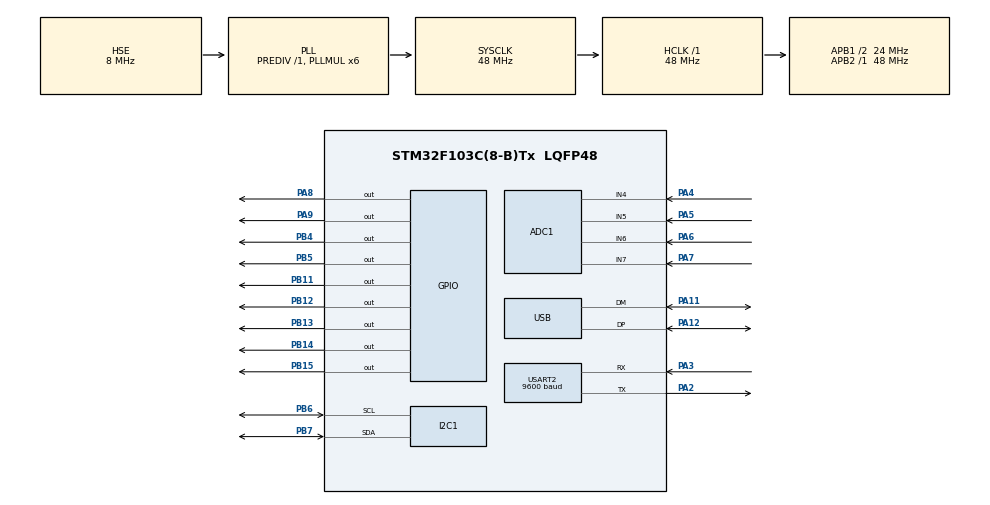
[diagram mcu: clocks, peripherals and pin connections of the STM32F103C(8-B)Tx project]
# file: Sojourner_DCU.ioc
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ADC1.Channel-0\#ChannelRegularConversion=ADC_CHANNEL_4
ADC1.ContinuousConvMode=ENABLE
ADC1.NbrOfConversionFlag=1
ADC1.Rank-0\#ChannelRegularConversion=1
ADC1.SamplingTime-0\#ChannelRegularConversion=ADC_SAMPLETIME_239CYCLES_5
ADC1.master=1
I2C1.NoStretchMode=I2C_NOSTRETCH_DISABLE
Mcu.Family=STM32F1
Mcu.Name=STM32F103C(8-B)Tx
Mcu.Package=LQFP48
NVIC.ADC1_2_IRQn=true\:3\:0\:true\:false\:true\:true\:true\:true
NVIC.I2C1_ER_IRQn=true\:1\:0\:true\:false\:true\:true\:true\:true
NVIC.I2C1_EV_IRQn=true\:1\:0\:true\:false\:true\:true\:true\:true
NVIC.PriorityGroup=NVIC_PRIORITYGROUP_4
NVIC.TIM2_IRQn=true\:4\:0\:true\:false\:true\:true\:true\:true
NVIC.TIM3_IRQn=true\:5\:0\:true\:false\:true\:true\:true\:true
NVIC.USART2_IRQn=true\:2\:0\:true\:false\:true\:true\:true\:true
NVIC.USB_LP_CAN1_RX0_IRQn=true\:0\:0\:false\:false\:true\:false\:true\:true
PA11.Mode=Device
PA11.Signal=USB_DM
PA12.Mode=Device
PA12.Signal=USB_DP
PA13.Signal=SYS_JTMS-SWDIO
PA14.Signal=SYS_JTCK-SWCLK
PA2.Mode=Asynchronous
PA2.Signal=USART2_TX
PA3.Mode=Asynchronous
PA3.Signal=USART2_RX
PA4.Signal=ADCx_IN4
PA5.Signal=ADCx_IN5
PA6.Signal=ADCx_IN6
PA7.Signal=ADCx_IN7
PA8.Signal=GPIO_Output
PA9.Signal=GPIO_Output
PB11.Signal=GPIO_Output
PB12.Signal=GPIO_Output
PB13.Signal=GPIO_Output
PB14.Signal=GPIO_Output
PB15.Signal=GPIO_Output
PB4.Signal=GPIO_Output
PB5.Signal=GPIO_Output
PB6.Mode=I2C
PB6.Signal=I2C1_SCL
PB7.Mode=I2C
PB7.Signal=I2C1_SDA
PD0-OSC_IN.Mode=HSE-External-Oscillator
PD0-OSC_IN.Signal=RCC_OSC_IN
PD1-OSC_OUT.Mode=HSE-External-Oscillator
PD1-OSC_OUT.Signal=RCC_OSC_OUT
ProjectManager.HeapSize=0x200
ProjectManager.StackSize=0x400
ProjectManager.TargetToolchain=STM32CubeIDE
RCC.ADCPresc=RCC_ADCPCLK2_DIV4
RCC.AHBFreq_Value=48000000
RCC.APB1CLKDivider=RCC_HCLK_DIV2
RCC.APB1Freq_Value=24000000
RCC.APB1TimFreq_Value=48000000
RCC.APB2Freq_Value=48000000
RCC.APB2TimFreq_Value=48000000
RCC.HCLKFreq_Value=48000000
RCC.PLLMUL=RCC_PLL_MUL6
RCC.PLLSourceVirtual=RCC_PLLSOURCE_HSE
RCC.SYSCLKFreq_VALUE=48000000
RCC.SYSCLKSource=RCC_SYSCLKSOURCE_PLLCLK
RCC.USBFreq_Value=48000000
SH.ADCx_IN4.0=ADC1_IN4,IN4
SH.ADCx_IN5.0=ADC1_IN5,IN5
SH.ADCx_IN6.0=ADC1_IN6,IN6
SH.ADCx_IN7.0=ADC1_IN7,IN7
TIM2.AutoReloadPreload=TIM_AUTORELOAD_PRELOAD_ENABLE
TIM2.Period=999
TIM2.Prescaler=71
TIM3.AutoReloadPreload=TIM_AUTORELOAD_PRELOAD_ENABLE
TIM3.Period=999
TIM3.Prescaler=71
USART2.BaudRate=9600
USART2.VirtualMode=VM_ASYNC
USB_DEVICE.CLASS_NAME_FS=CDC
USB_DEVICE.MANUFACTURER_STRING=Marlin Robotics
USB_DEVICE.VirtualMode=Cdc
USB_DEVICE.VirtualModeFS=Cdc_FS
VP_SYS_VS_ND.Mode=No_Debug
VP_TIM2_VS_ClockSourceINT.Mode=Internal
VP_TIM3_VS_ClockSourceINT.Mode=Internal
VP_USB_DEVICE_VS_USB_DEVICE_CDC_FS.Mode=CDC_FS
board=custom

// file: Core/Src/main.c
/* USER CODE BEGIN Header */
/**
  ******************************************************************************
  * @file           : main.c
  * @brief          : Main program body
  ******************************************************************************
  * @attention
  *
  * Copyright (c) 2025 STMicroelectronics.
  * All rights reserved.
  *
  * This software is licensed under terms that can be found in the LICENSE file
  * in the root directory of this software component.
  * If no LICENSE file comes with this software, it is provided AS-IS.
  *
  ******************************************************************************
  */
/* USER CODE END Header */
#include "main.h"
#include "adc.h"
#include "i2c.h"
#include "tim.h"
#include "usart.h"
#include "usb_device.h"
#include "gpio.h"

/* USER CODE BEGIN PTD */
extern ADC_HandleTypeDef hadc1;
extern I2C_HandleTypeDef hi2c1;
extern TIM_HandleTypeDef htim2;
extern TIM_HandleTypeDef htim3;
extern UART_HandleTypeDef huart2;
/* USER CODE END PTD */

/* USER CODE BEGIN PD */
#define TELEMETRY_INTERVAL 100
/* USER CODE END PD */

/* USER CODE BEGIN PV */
static uint32_t last_telemetry = 0;
static uint8_t gps_rx_buffer[1];
static uint16_t adc_buffer[4];
/* USER CODE END PV */

void SystemClock_Config(void);

int main(void)
{

  /* MCU Configuration--------------------------------------------------------*/

  /* Reset of all peripherals, Initializes the Flash interface and the Systick. */
  HAL_Init();

  /* Configure the system clock */
  SystemClock_Config();

  /* Initialize all configured peripherals */
  MX_GPIO_Init();
  MX_ADC1_Init();
  MX_I2C1_Init();
  MX_TIM2_Init();
  MX_TIM3_Init();
  MX_USART2_UART_Init();
  MX_USB_DEVICE_Init();
  /* USER CODE BEGIN 2 */
  // Инициализация модулей
  MotorControl_Init();
  HallSensors_Init();
  IMU_Init();
  GPS_Init();

  // ВАЖНО: Оставляем только один вызов инициализации USB
  MX_USB_DEVICE_Init();

  // Калибровка датчиков
  HallSensors_Calibrate();
  IMU_Calibrate();

  // Запуск таймеров
  HAL_TIM_Base_Start_IT(&htim2);
  HAL_TIM_Base_Start_IT(&htim3);

  // Запуск ADC
  HAL_ADC_Start_DMA(&hadc1, (uint32_t*)adc_buffer, 4);

  // Запуск UART
  HAL_UART_Receive_IT(&huart2, gps_rx_buffer, 1);

  // Добавляем отладочную информацию об инициализации USB
  USBD_UsrLog("USB Device Initialized");
  /* USER CODE END 2 */

  /* Infinite loop */
  /* USER CODE BEGIN WHILE */
  while (1)
  {
    uint32_t current_time = HAL_GetTick();
      // Обновление данных IMU и GPS
    IMU_Update();
    GPS_Update();

    // Проверка состояния IMU
    if (!IMU_IsInitialized()) {
        IMU_Init(); // Попытка переинициализации
    }

    // Отправка телеметрии
    if (current_time - last_telemetry >= TELEMETRY_INTERVAL) {
      const IMU_Data* imu_data = IMU_GetData();
      const GPS_Data* gps_data = GPS_GetData();

      if (imu_data != NULL && gps_data != NULL && IMU_IsDataValid()) {
        // Обновляем yaw в IMU данных из GPS курса
        if (GPS_HasValidCourse()) {
            ((IMU_Data*)imu_data)->yaw = gps_data->course;
        } else if (GPS_GetLastKnownCourse() != 0.0f) {
            ((IMU_Data*)imu_data)->yaw = GPS_GetLastKnownCourse();
        }

        USB_CDC_SendTelemetry(imu_data, gps_data);
      }

      last_telemetry = current_time;
    }

    // Обработка команд управления
    USB_CDC_ProcessReceivedData();

    /* USER CODE END WHILE */

  }
}

void SystemClock_Config(void)
{
  RCC_OscInitTypeDef RCC_OscInitStruct = {0};
  RCC_ClkInitTypeDef RCC_ClkInitStruct = {0};
  RCC_PeriphCLKInitTypeDef PeriphClkInit = {0};

  /** Initializes the RCC Oscillators according to the specified parameters
  * in the RCC_OscInitTypeDef structure.
  */
  RCC_OscInitStruct.OscillatorType = RCC_OSCILLATORTYPE_HSE;
  RCC_OscInitStruct.HSEState = RCC_HSE_ON;
  RCC_OscInitStruct.HSEPredivValue = RCC_HSE_PREDIV_DIV1;
  RCC_OscInitStruct.HSIState = RCC_HSI_ON;
  RCC_OscInitStruct.PLL.PLLState = RCC_PLL_ON;
  RCC_OscInitStruct.PLL.PLLSource = RCC_PLLSOURCE_HSE;
  RCC_OscInitStruct.PLL.PLLMUL = RCC_PLL_MUL6;
  if (HAL_RCC_OscConfig(&RCC_OscInitStruct) != HAL_OK)
  {
    Error_Handler();
  }

  /** Initializes the CPU, AHB and APB buses clocks
  */
  RCC_ClkInitStruct.ClockType = RCC_CLOCKTYPE_HCLK|RCC_CLOCKTYPE_SYSCLK
                              |RCC_CLOCKTYPE_PCLK1|RCC_CLOCKTYPE_PCLK2;
  RCC_ClkInitStruct.SYSCLKSource = RCC_SYSCLKSOURCE_PLLCLK;
  RCC_ClkInitStruct.AHBCLKDivider = RCC_SYSCLK_DIV1;
  RCC_ClkInitStruct.APB1CLKDivider = RCC_HCLK_DIV2;
  RCC_ClkInitStruct.APB2CLKDivider = RCC_HCLK_DIV1;

  if (HAL_RCC_ClockConfig(&RCC_ClkInitStruct, FLASH_LATENCY_1) != HAL_OK)
  {
    Error_Handler();
  }
  PeriphClkInit.PeriphClockSelection = RCC_PERIPHCLK_ADC|RCC_PERIPHCLK_USB;
  PeriphClkInit.AdcClockSelection = RCC_ADCPCLK2_DIV4;
  PeriphClkInit.UsbClockSelection = RCC_USBCLKSOURCE_PLL;
  if (HAL_RCCEx_PeriphCLKConfig(&PeriphClkInit) != HAL_OK)
  {
    Error_Handler();
  }
}

void Error_Handler(void)
{
  __disable_irq();
  while (1)
  {
  }
}
